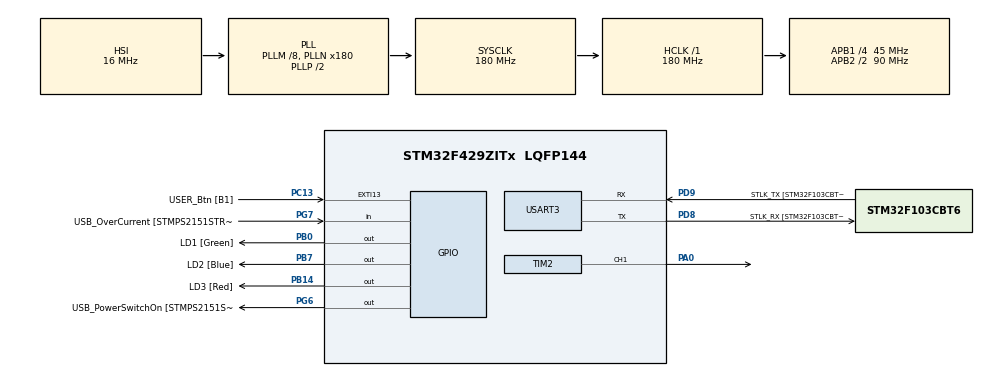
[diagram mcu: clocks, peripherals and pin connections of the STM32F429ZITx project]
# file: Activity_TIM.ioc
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Mcu.Family=STM32F4
Mcu.Name=STM32F429ZITx
Mcu.Package=LQFP144
NVIC.PriorityGroup=NVIC_PRIORITYGROUP_4
PA0/WKUP.Signal=S_TIM2_CH1_ETR
PA1.GPIO_Label=RMII_REF_CLK [LAN8742A-CZ-TR_REFCLK0]
PA1.Signal=ETH_REF_CLK
PA10.GPIO_Label=USB_ID
PA10.Signal=USB_OTG_FS_ID
PA11.GPIO_Label=USB_DM
PA11.Signal=USB_OTG_FS_DM
PA12.GPIO_Label=USB_DP
PA12.Signal=USB_OTG_FS_DP
PA13.GPIO_Label=TMS
PA13.Mode=Serial_Wire
PA13.Signal=SYS_JTMS-SWDIO
PA14.GPIO_Label=TCK
PA14.Mode=Serial_Wire
PA14.Signal=SYS_JTCK-SWCLK
PA2.GPIO_Label=RMII_MDIO [LAN8742A-CZ-TR_MDIO]
PA2.Signal=ETH_MDIO
PA7.GPIO_Label=RMII_CRS_DV [LAN8742A-CZ-TR_CRS_DV]
PA7.Signal=ETH_CRS_DV
PA8.GPIO_Label=USB_SOF [TP1]
PA8.Signal=USB_OTG_FS_SOF
PA9.GPIO_Label=USB_VBUS
PA9.Signal=USB_OTG_FS_VBUS
PB0.GPIO_Label=LD1 [Green]
PB0.Signal=GPIO_Output
PB13.GPIO_Label=RMII_TXD1 [LAN8742A-CZ-TR_TXD1]
PB13.Signal=ETH_TXD1
PB14.GPIO_Label=LD3 [Red]
PB14.Signal=GPIO_Output
PB7.GPIO_Label=LD2 [Blue]
PB7.Signal=GPIO_Output
PC1.GPIO_Label=RMII_MDC [LAN8742A-CZ-TR_MDC]
PC1.Signal=ETH_MDC
PC13.GPIO_Label=USER_Btn [B1]
PC13.Signal=GPXTI13
PC14/OSC32_IN.Mode=LSE-External-Oscillator
PC14/OSC32_IN.Signal=RCC_OSC32_IN
PC15/OSC32_OUT.Mode=LSE-External-Oscillator
PC15/OSC32_OUT.Signal=RCC_OSC32_OUT
PC4.GPIO_Label=RMII_RXD0 [LAN8742A-CZ-TR_RXD0]
PC4.Signal=ETH_RXD0
PC5.GPIO_Label=RMII_RXD1 [LAN8742A-CZ-TR_RXD1]
PC5.Signal=ETH_RXD1
PD8.GPIO_Label=STLK_RX [STM32F103CBT6_PA3]
PD8.Mode=Asynchronous
PD8.Signal=USART3_TX
PD9.GPIO_Label=STLK_TX [STM32F103CBT6_PA2]
PD9.Mode=Asynchronous
PD9.Signal=USART3_RX
PG11.GPIO_Label=RMII_TX_EN [LAN8742A-CZ-TR_TXEN]
PG11.Signal=ETH_TX_EN
PG13.GPIO_Label=RMII_TXD0 [LAN8742A-CZ-TR_TXD0]
PG13.Signal=ETH_TXD0
PG6.GPIO_Label=USB_PowerSwitchOn [STMPS2151STR_EN]
PG6.Signal=GPIO_Output
PG7.GPIO_Label=USB_OverCurrent [STMPS2151STR_FAULT]
PG7.Signal=GPIO_Input
PH0/OSC_IN.GPIO_Label=MCO [STM32F103CBT6_PA8]
PH0/OSC_IN.Signal=RCC_OSC_IN
ProjectManager.HeapSize=0x200
ProjectManager.StackSize=0x400
ProjectManager.TargetToolchain=STM32CubeIDE
RCC.48MHZClocksFreq_Value=51428571.428571425
RCC.AHBFreq_Value=180000000
RCC.APB1CLKDivider=RCC_HCLK_DIV4
RCC.APB1Freq_Value=45000000
RCC.APB1TimFreq_Value=90000000
RCC.APB2CLKDivider=RCC_HCLK_DIV2
RCC.APB2Freq_Value=90000000
RCC.APB2TimFreq_Value=180000000
RCC.CortexFreq_Value=180000000
RCC.HCLKFreq_Value=180000000
RCC.HSE_VALUE=8000000
RCC.HSI_VALUE=16000000
RCC.PLLM=8
RCC.PLLMUL=RCC_PLL_MUL9
RCC.PLLN=180
RCC.PLLQ=7
RCC.PRESCALERUSB=RCC_USBCLKSOURCE_PLL_DIV1_5
RCC.RCC_RTC_Clock_Source=RCC_RTCCLKSOURCE_LSE
RCC.RCC_RTC_Clock_SourceVirtual=RCC_RTCCLKSOURCE_LSE
RCC.SYSCLKFreq_VALUE=180000000
RCC.SYSCLKSource=RCC_SYSCLKSOURCE_PLLCLK
RCC.SYSCLKSourceVirtual=RCC_SYSCLKSOURCE_PLLCLK
RCC.USBFreq_Value=48000000
RCC.VCOOutputFreq_Value=360000000
SH.S_TIM2_CH1_ETR.0=TIM2_CH1,PWM Generation1 CH1
TIM2.Channel-PWM\ Generation1\ CH1=TIM_CHANNEL_1
TIM2.CounterMode=TIM_COUNTERMODE_DOWN
TIM2.Period=1000-1
TIM2.Prescaler=180-1
TIM2.Pulse-PWM\ Generation1\ CH1=0
USART3.VirtualMode=VM_ASYNC
VP_RTC_VS_RTC_Activate.Mode=RTC_Enabled
VP_TIM2_VS_ClockSourceINT.Mode=Internal
board=NUCLEO-F429ZI

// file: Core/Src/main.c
/* USER CODE BEGIN Header */
/**
  ******************************************************************************
  * @file           : main.c
  * @brief          : Main program body
  ******************************************************************************
  * @attention
  *
  * Copyright (c) 2022 STMicroelectronics.
  * All rights reserved.
  *
  * This software is licensed under terms that can be found in the LICENSE file
  * in the root directory of this software component.
  * If no LICENSE file comes with this software, it is provided AS-IS.
  *
  ******************************************************************************
  */
/* USER CODE END Header */
#include "main.h"
#include "rtc.h"
#include "tim.h"
#include "usart.h"
#include "gpio.h"

/* USER CODE BEGIN Includes */
#include "string.h"
/* USER CODE END Includes */

/* USER CODE BEGIN PD */

// 옥타브 5
#define C 956 // 도
#define D 852
#define E 758
#define F 716
#define G 638 // 솔
#define A 568
#define B 506
#define C_ 902 // C#
#define D_ 804
#define F_ 676
#define A_ 536
#define M 0 // mute

#define VOLUME 300

#define C4 1911
#define C5 956
#define A3 2272
#define AS3 2241
#define A4 1136 // 솔
#define AS4 1272
#define F3 2863
#define F4 1431
#define D3 3405
#define D4 1702
#define DS3 3214
#define DS4 1607
#define CS4 1803
#define GS3 2408
#define G3 2551
#define E3 3034
#define FS4 1351
#define B3 2024
#define GS4 1204
// 375
// 4 >> 250
// 8 >> 125

uint16_t bicycle[] = {E, G, G, M, E, G, G, M, A, A, A, A, A, M}; //, G, G, M, A, A, A, A, A};
uint16_t interval[] = {125, 125, 250, 250, 125, 125, 250, 0, 125, 125, 125, 125, 375, 625};
uint16_t mute[] =    {125, 125, 0, 0, 125, 125, 0, 0, 125, 125, 125, 125, 125, 0};

uint16_t bicycle_2[] = {G, G, G, G, F, F, F, F, E, E, E, E, E, M};
uint16_t interval_2[] = {125, 125, 125, 125, 125, 125, 125, 125, 125, 125, 125, 125, 375, 625};
uint16_t mute_2[] = {125, 125, 125 ,125, 125, 125, 125 ,125, 125, 125, 125 ,125, 125, 0};

uint16_t bicycle_3[] = {E, G, G, G, E, G, G, M, A, A, E, E, G, M};
uint16_t interval_3[] = {125, 125, 125, 125, 125, 125, 250, 250, 200, 75, 125, 125, 375, 625};
uint16_t mute_3[] = {125, 125, 125 ,125, 125, 125 ,0, 0, 125, 50, 75, 125, 125, 125, 0};

uint16_t bicycle_4[] = {F, F, F, F, E, E, E, E, D, D, G, G, C, M};
uint16_t interval_4[] = {125, 125, 125, 125, 125, 125, 125, 125, 125, 125, 125, 125, 375, 625};
uint16_t mute_4[] = {125, 125, 125, 125, 125, 125, 125, 125, 125, 125, 125, 125, 125, 0};

uint8_t bell_length = sizeof(bicycle)/sizeof(uint16_t);
uint8_t bell_length_2 = sizeof(bicycle_2)/sizeof(uint16_t);
uint8_t bell_length_3 = sizeof(bicycle_3)/sizeof(uint16_t);
uint8_t bell_length_4 = sizeof(bicycle_4)/sizeof(uint16_t);
//uint8_t interval[] = {125, 125, 250, 250, 125, 125, 250, 250 , 125, 125, 125, 125, 375}

uint16_t underworld_melody[] = {
  C4, C5, A3, A4,
  AS3, AS4, M,
  M,
  C4, C5, A3, A4,
  AS3, AS4, M,
  M,
  F3, F4, D3, D4,
  DS3, DS4, M,
  M,
  F3, F4, D3, D4,
  DS3, DS4, M,
  M, DS4, CS4, D4,
  CS4, DS4,
  DS4, GS3,
  G3, CS4,
  C4, FS4, F4, E3, AS4, A4,
  GS4, DS4, B3,
  AS3, A3, GS3,
  M, M, M
};
	//Underwolrd tempo
uint16_t underworld_tempo[] = {
	  12, 12, 12, 12,
	  12, 12, 6,
	  3,
	  12, 12, 12, 12,
	  12, 12, 6,
	  3,
	  12, 12, 12, 12,
	  12, 12, 6,
	  3,
	  12, 12, 12, 12,
	  12, 12, 6,
	  6, 18, 18, 18,
	  6, 6,
	  6, 6,
	  6, 6,
	  18, 18, 18, 18, 18, 18,
	  10, 10, 10,
	  10, 10, 10,
	  3, 3, 3
};

uint8_t underworld_length =  sizeof(underworld_melody) / sizeof(uint16_t);
/* USER CODE END PD */

void SystemClock_Config(void);

/* USER CODE BEGIN 0 */
uint8_t data;
uint8_t rx;
/* USER CODE END 0 */

int main(void)
{

  /* MCU Configuration--------------------------------------------------------*/

  /* Reset of all peripherals, Initializes the Flash interface and the Systick. */
  HAL_Init();

  /* Configure the system clock */
  SystemClock_Config();

  /* Initialize all configured peripherals */
  MX_GPIO_Init();
  MX_USART3_UART_Init();
  MX_RTC_Init();
  MX_TIM2_Init();
  /* USER CODE BEGIN 2 */

  uint32_t set_CCR = TIM2 -> ARR / 300;
		  //300;
  //uint8_t value=25;

   HAL_TIM_PWM_Start(&htim2, TIM_CHANNEL_1);
  /* USER CODE END 2 */

  /* Infinite loop */
  /* USER CODE BEGIN WHILE */
  while (1)
  {

/*	 for(int i = 0; i < bell_length; i++){
		  TIM2 -> ARR = bicycle[i];
		  TIM2 -> CCR1 = set_CCR;
		  HAL_Delay(interval[i]);
		  TIM2 -> CCR1 = 0;
		  HAL_Delay(mute[i]);
	  }
	  for(int i = 0; i < bell_length_2; i++){
		  TIM2 -> ARR = bicycle_2[i];
		  TIM2 -> CCR1 = set_CCR;
		  HAL_Delay(interval_2[i]);
		  TIM2 -> CCR1 = 0;
		  HAL_Delay(mute_2[i]);
	  }
	  for(int i = 0; i < bell_length_3; i++){
		  TIM2 -> ARR = bicycle_3[i];
		  TIM2 -> CCR1 = set_CCR;
		  HAL_Delay(interval_3[i]);
		  TIM2 -> CCR1 = 0;
		  HAL_Delay(mute_3[i]);
	  }
	  for(int i = 0; i < bell_length_4; i++){
		  TIM2 -> ARR = bicycle_4[i];
		  TIM2 -> CCR1 = set_CCR;
		  HAL_Delay(interval_4[i]);
		  TIM2 -> CCR1 = 0;
		  HAL_Delay(mute_4[i]);
	  }*/
	  	 for(int i = 0; i < underworld_length; i++){
	  		  TIM2 -> ARR = underworld_melody[i];
	  		  TIM2 -> CCR1 = TIM2 -> ARR / VOLUME;
	  		  HAL_Delay(1500/underworld_tempo[i]);
	  		  //TIM2 -> CCR1 = 0;
	  		  //HAL_Delay(mute[i]);
	  	  }
    /* USER CODE END WHILE */

  }
}

void SystemClock_Config(void)
{
  RCC_OscInitTypeDef RCC_OscInitStruct = {0};
  RCC_ClkInitTypeDef RCC_ClkInitStruct = {0};

  /** Configure the main internal regulator output voltage
  */
  __HAL_RCC_PWR_CLK_ENABLE();
  __HAL_PWR_VOLTAGESCALING_CONFIG(PWR_REGULATOR_VOLTAGE_SCALE1);

  /** Initializes the RCC Oscillators according to the specified parameters
  * in the RCC_OscInitTypeDef structure.
  */
  RCC_OscInitStruct.OscillatorType = RCC_OSCILLATORTYPE_HSI|RCC_OSCILLATORTYPE_LSE;
  RCC_OscInitStruct.LSEState = RCC_LSE_ON;
  RCC_OscInitStruct.HSIState = RCC_HSI_ON;
  RCC_OscInitStruct.HSICalibrationValue = RCC_HSICALIBRATION_DEFAULT;
  RCC_OscInitStruct.PLL.PLLState = RCC_PLL_ON;
  RCC_OscInitStruct.PLL.PLLSource = RCC_PLLSOURCE_HSI;
  RCC_OscInitStruct.PLL.PLLM = 8;
  RCC_OscInitStruct.PLL.PLLN = 180;
  RCC_OscInitStruct.PLL.PLLP = RCC_PLLP_DIV2;
  RCC_OscInitStruct.PLL.PLLQ = 7;
  if (HAL_RCC_OscConfig(&RCC_OscInitStruct) != HAL_OK)
  {
    Error_Handler();
  }

  /** Activate the Over-Drive mode
  */
  if (HAL_PWREx_EnableOverDrive() != HAL_OK)
  {
    Error_Handler();
  }

  /** Initializes the CPU, AHB and APB buses clocks
  */
  RCC_ClkInitStruct.ClockType = RCC_CLOCKTYPE_HCLK|RCC_CLOCKTYPE_SYSCLK
                              |RCC_CLOCKTYPE_PCLK1|RCC_CLOCKTYPE_PCLK2;
  RCC_ClkInitStruct.SYSCLKSource = RCC_SYSCLKSOURCE_PLLCLK;
  RCC_ClkInitStruct.AHBCLKDivider = RCC_SYSCLK_DIV1;
  RCC_ClkInitStruct.APB1CLKDivider = RCC_HCLK_DIV4;
  RCC_ClkInitStruct.APB2CLKDivider = RCC_HCLK_DIV2;

  if (HAL_RCC_ClockConfig(&RCC_ClkInitStruct, FLASH_LATENCY_5) != HAL_OK)
  {
    Error_Handler();
  }
}

/* USER CODE BEGIN 4 */
/*void HAL_TIM_PeriodElapsedCallback(TIM_HandleTypeDef *htim)
{
	if(htim->Instance == TIM2)
		HAL_GPIO_TogglePin(GPIOB, LD1_Pin);
	if(htim->Instance == TIM3)
		HAL_GPIO_TogglePin(GPIOB, LD2_Pin);
	if(htim->Instance == TIM4)
		HAL_GPIO_TogglePin(GPIOB, LD3_Pin);
}*/
/* USER CODE END 4 */

void Error_Handler(void)
{
  __disable_irq();
  while (1)
  {
  }
}
